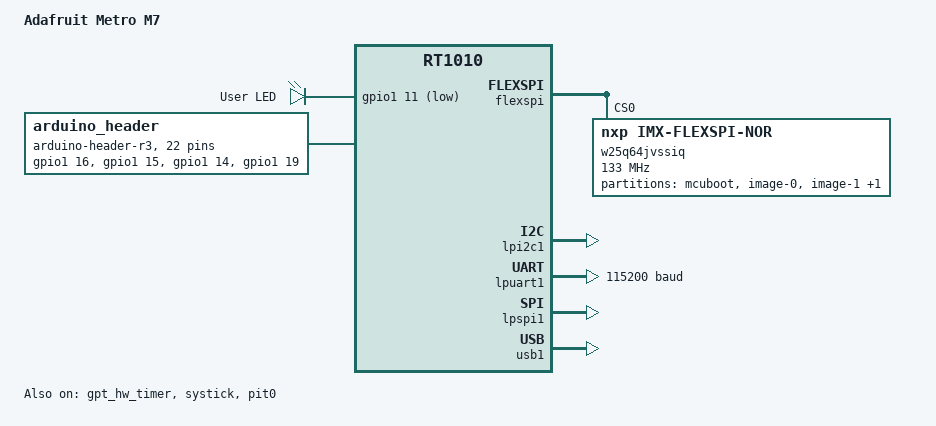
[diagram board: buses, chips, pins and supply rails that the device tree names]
/*
 * Copyright (c) 2023 TiaC Systems
 * Copyright (c) 2019, 2023-2024, NXP
 * Copyright (c) 2024, George White
 *
 * SPDX-License-Identifier: Apache-2.0
 */

/dts-v1/;

#include <nxp/nxp_rt1010.dtsi>
#include "adafruit_metro_m7-pinctrl.dtsi"
#include <zephyr/dt-bindings/input/input-event-codes.h>
#include <freq.h>
#include <mem.h>

/ {
	model = "Adafruit Metro M7";
	compatible = "adafruit,metro_m7";

	aliases {
		/* TODO(galexite): NeoPixel */
		led0 = &user_led;
	};

	chosen {
		zephyr,itcm = &itcm;
		zephyr,dtcm = &dtcm;
		zephyr,console = &lpuart1;
		zephyr,shell-uart = &lpuart1;
		zephyr,flash = &w25q64jvssiq;
		zephyr,flash-controller = &w25q64jvssiq;
		zephyr,code-partition = &slot0_partition;
		zephyr,uart-mcumgr = &lpuart1;
	};

	leds {
		compatible = "gpio-leds";
		user_led: led-1 {
			gpios = <&gpio1 11 GPIO_ACTIVE_LOW>;
			label = "User LED";
		};
	};

	/* TODO(galexite): complete Ax headers, check D14, D15 */
	arduino_header: connector {
		compatible = "arduino-header-r3";
		#gpio-cells = <2>;
		gpio-map-mask = <0xffffffff 0xffffffc0>;
		gpio-map-pass-thru = <0 0x3f>;
		gpio-map = <0 0 &gpio1 16 0>,	/* A0 */
			   <1 0 &gpio1 15 0>,	/* A1 */
			   <2 0 &gpio1 14 0>,	/* A2 */
			   <3 0 &gpio1 19 0>,	/* A3 */
			   <4 0 &gpio1 24 0>,	/* A4 */
			   <5 0 &gpio1 22 0>,	/* A5 */
			   <6 0 &gpio1 9 0>,	/* D0 */
			   <7 0 &gpio1 10 0>,	/* D1 */
			   <8 0 &gpio1 13 0>,	/* D2 */
			   <9 0 &gpio1 12 0>,	/* D3 */
			   <10 0 &gpio2 0 0>,	/* D4 */
			   <11 0 &gpio2 1 0>,	/* D5 */
			   <12 0 &gpio2 2 0>,	/* D6 */
			   <13 0 &gpio1 11 0>,	/* D7 */
			   <14 0 &gpio1 8 0>,	/* D8 */
			   <15 0 &gpio1 7 0>,	/* D9 */
			   <16 0 &gpio1 6 0>,	/* D10 */
			   <17 0 &gpio1 5 0>,	/* D11 */
			   <18 0 &gpio1 4 0>,	/* D12 */
			   <19 0 &gpio1 3 0>,	/* D13 */
			   <20 0 &gpio1 2 0>,	/* D14 (shared with A0) */
			   <21 0 &gpio1 1 0>;	/* D15 (shared with A1) */
	};
};

&flexspi {
	status = "okay";
	reg = <0x402a8000 0x4000>, <0x60000000 DT_SIZE_M(8)>;
	w25q64jvssiq: w25q64jvssiq@0 {
		compatible = "nxp,imx-flexspi-nor";
		size = <(DT_SIZE_M(8) * 8)>;
		reg = <0>;
		spi-max-frequency = <DT_FREQ_M(133)>;
		status = "okay";
		jedec-id = [ef 70 17];
		erase-block-size = <4096>;
		write-block-size = <1>;
		cs-interval-unit = <1>;
		cs-interval = <2>;
		cs-hold-time = <3>;
		cs-setup-time = <3>;
		data-valid-time = <2>;
		column-space = <0>;

		partitions {
			compatible = "fixed-partitions";
			#address-cells = <1>;
			#size-cells = <1>;
			boot_partition: partition@0 {
				label = "mcuboot";
				reg = <0x00000000 DT_SIZE_K(128)>;
			};
			/* The MCUBoot swap-move algorithm uses the last 2 sectors
			 * of the primary slot0 for swap status and move.
			 */
			slot0_partition: partition@20000 {
				label = "image-0";
				reg = <0x00020000 (DT_SIZE_M(3) + DT_SIZE_K(8))>;
			};
			slot1_partition: partition@322000 {
				label = "image-1";
				reg = <0x00322000 DT_SIZE_M(3)>;
			};
			storage_partition: partition@622000 {
				label = "storage";
				reg = <0x00622000 (DT_SIZE_M(2) - DT_SIZE_K(136))>;
			};
		};
	};
};

arduino_i2c: &lpi2c1 {
	status = "okay";
	pinctrl-0 = <&pinmux_lpi2c1>;
	pinctrl-names = "default";
};

arduino_serial: &lpuart1 {};

&lpuart1 {
	status = "okay";
	current-speed = <115200>;
	pinctrl-0 = <&pinmux_lpuart1>;
	/* pinctrl-1 = <&pinmux_lpuart1_sleep>; */
	pinctrl-names = "default" /*, "sleep" */;
};

arduino_spi: &lpspi1 {
	status = "okay";
	/* DMA channels 0 and 1, muxed to LPSPI1 RX and TX */
	dmas = <&edma0 0 13>, <&edma0 1 14>;
	dma-names = "rx", "tx";
	pinctrl-0 = <&pinmux_lpspi1>;
	pinctrl-names = "default";
};

zephyr_udc0: &usb1 {
	status = "okay";
};

/*
&adc1 {
	status = "okay";
	pinctrl-0 = <&pinmux_adc1>;
	pinctrl-names = "default";
};

&sai1 {
	pinctrl-0 = <&pinmux_sai1>;
	pinctrl-names = "default";
};
*/

&edma0 {
	status = "okay";
};

/* GPT and Systick are enabled. If power management is enabled, the GPT
 * timer will be used instead of systick, as allows the core clock to
 * be gated.
 */
&gpt_hw_timer {
	status = "okay";
};

&systick {
	status = "okay";
};

&pit0 {
	status = "okay";
};
